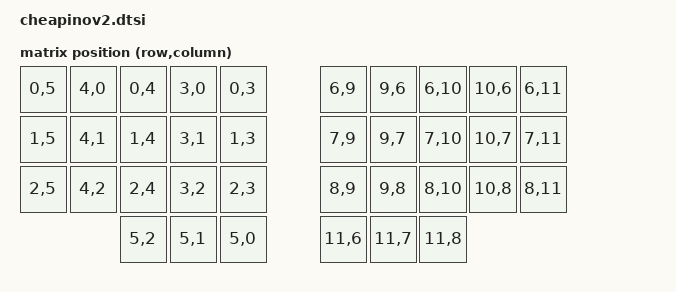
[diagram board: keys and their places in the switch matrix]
/*
 * Copyright (c) 2022 The ZMK Contributors
 *
 * SPDX-License-Identifier: MIT
 */

#include <dt-bindings/zmk/matrix_transform.h>
#include "cheapinov2-layout.dtsi"

&cheapino_layout {
    transform = <&default_transform>;
};

/ {
    chosen {
        zmk,kscan = &cheapino_scan;
        zmk,physical-layout = &cheapino_layout;
        transform = <&default_transform>;
    };

    default_transform: keymap_transform_0 {
        compatible = "zmk,matrix-transform";
        columns = <12>;
        rows = <12>;
        map = <
                RC(0,5) RC(4,0) RC(0,4) RC(3,0) RC(0,3)    RC(6,9) RC(9,6) RC(6,10) RC(10,6) RC(6,11)
                RC(1,5) RC(4,1) RC(1,4) RC(3,1) RC(1,3)    RC(7,9) RC(9,7) RC(7,10) RC(10,7) RC(7,11)
                RC(2,5) RC(4,2) RC(2,4) RC(3,2) RC(2,3)    RC(8,9) RC(9,8) RC(8,10) RC(10,8) RC(8,11)
                                RC(5,2) RC(5,1) RC(5,0)    RC(11,6) RC(11,7) RC(11,8)
        >;
    };


    cheapino_scan: kscan0 {
        compatible = "zmk,kscan-gpio-charlieplex";
        gpios
            // Left side
            = <&pro_micro 6 (GPIO_ACTIVE_HIGH | GPIO_PULL_DOWN)> // Row 0 Left side
            , <&pro_micro 5 (GPIO_ACTIVE_HIGH | GPIO_PULL_DOWN)>
            , <&pro_micro 4 (GPIO_ACTIVE_HIGH | GPIO_PULL_DOWN)>
            , <&pro_micro 9 (GPIO_ACTIVE_HIGH | GPIO_PULL_DOWN)> // Col 0 Left side
            , <&pro_micro 8 (GPIO_ACTIVE_HIGH | GPIO_PULL_DOWN)>
            , <&pro_micro 7 (GPIO_ACTIVE_HIGH | GPIO_PULL_DOWN)>

            // Right side
            , <&pro_micro 19 (GPIO_ACTIVE_HIGH | GPIO_PULL_DOWN)> // Row 0 Right side
            // Rows 1 and 2 are switched in routing coming from right.
            // Hence 21 before 20 
            , <&pro_micro 21 (GPIO_ACTIVE_HIGH | GPIO_PULL_DOWN)>
            , <&pro_micro 20 (GPIO_ACTIVE_HIGH | GPIO_PULL_DOWN)>
            // Col 0 Right side maps physically to VCC on pro micro
            // We therefore avoid soldering VCC socket pin, and instead solder a bodge wire
            // on the back side from col 0 to pro micro pin 2
            , <&pro_micro 14 (GPIO_ACTIVE_HIGH | GPIO_PULL_DOWN)> // Col 0 Right side
            , <&pro_micro 15 (GPIO_ACTIVE_HIGH | GPIO_PULL_DOWN)>
            , <&pro_micro 18 (GPIO_ACTIVE_HIGH | GPIO_PULL_DOWN)>
            ;
    };
};
